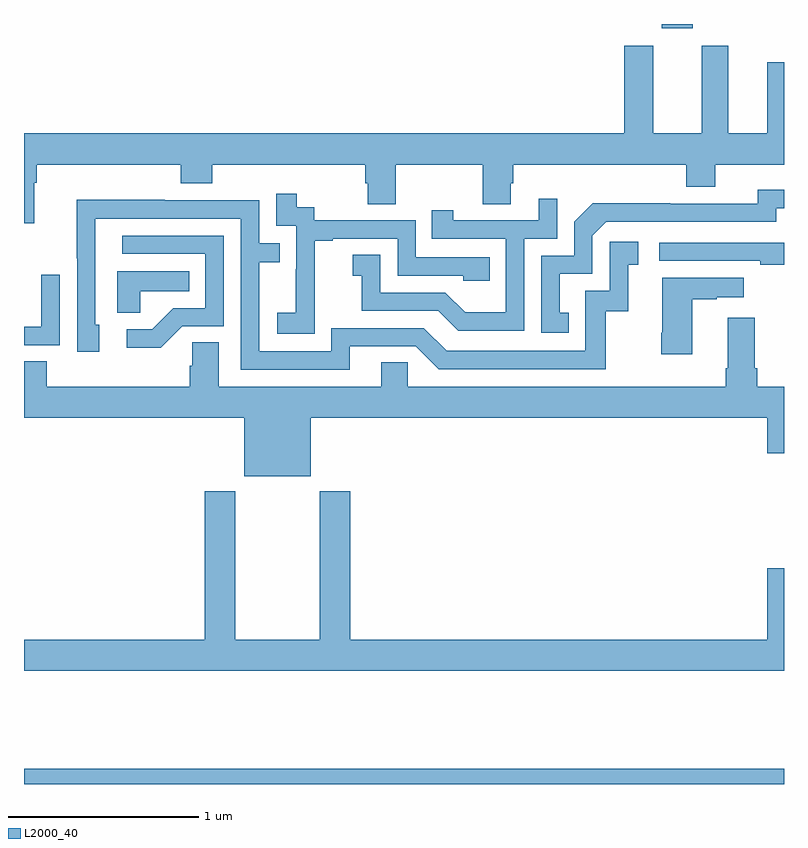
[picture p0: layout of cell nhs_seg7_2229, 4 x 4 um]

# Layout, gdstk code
import gdstk
lib = gdstk.Library(unit=1e-6, precision=1e-09)
def R(c, l, rs):  # rectangles x0, y0, x1, y1
    for r in rs: c.add(gdstk.rectangle(r[:2], r[2:], *l))
def P(c, l, *ps):  # polygons
    for p in ps: c.add(gdstk.Polygon(p, *l))
L2000_40 = (2000, 40)

nhs_seg7_2229 = lib.new_cell('nhs_seg7_2229')
R(nhs_seg7_2229, L2000_40, [(257,1020,261,1020.08), (260.357,1023.978,260.521,1024)])
P(nhs_seg7_2229, L2000_40, [(257.053,1023.164),(257.066,1023.164),(257.066,1023.26),(257.825,1023.26),(257.825,1023.161),(257.99,1023.161),(257.99,1023.26),(258.797,1023.26),(258.797,1023.162),(258.809,1023.162),(258.809,1023.052),(258.957,1023.052),(258.957,1023.26),(259.414,1023.26),(259.414,1023.052),(259.561,1023.052),(259.561,1023.162),(259.574,1023.162),(259.574,1023.26),(260.486,1023.26),(260.486,1023.143),(260.638,1023.143),(260.638,1023.26),(261,1023.26),(261,1023.799),(260.912,1023.799),(260.912,1023.424),(260.707,1023.424),(260.707,1023.886),(260.567,1023.886),(260.567,1023.424),(260.311,1023.424),(260.311,1023.886),(260.159,1023.886),(260.159,1023.424),(257,1023.424),(257,1022.951),(257.053,1022.951)],
  [(259.868,1022.481),(259.819,1022.481),(259.819,1022.685),(259.992,1022.685),(259.992,1022.886),(260.064,1022.958),(260.958,1022.958),(260.958,1023.03),(261,1023.03),(261,1023.127),(260.862,1023.127),(260.862,1023.054),(260.402,1023.054),(260.402,1023.056),(259.994,1023.056),(259.896,1022.958),(259.896,1022.781),(259.722,1022.781),(259.722,1022.376),(259.868,1022.376)],
  [(258.531,1022.575),(258.529,1022.575),(258.529,1022.859),(258.625,1022.859),(258.625,1022.871),(258.966,1022.871),(258.966,1022.676),(259.311,1022.676),(259.311,1022.649),(259.451,1022.649),(259.451,1022.772),(259.062,1022.772),(259.062,1022.967),(258.528,1022.967),(258.528,1023.036),(258.436,1023.036),(258.436,1023.106),(258.327,1023.106),(258.327,1022.937),(258.432,1022.937),(258.432,1022.708),(258.431,1022.708),(258.431,1022.479),(258.333,1022.479),(258.333,1022.369),(258.531,1022.369)],
  [(259.632,1022.871),(259.806,1022.871),(259.806,1023.079),(259.709,1023.079),(259.709,1022.967),(259.258,1022.967),(259.258,1023.019),(259.147,1023.019),(259.147,1022.871),(259.536,1022.871),(259.536,1022.482),(259.322,1022.482),(259.218,1022.586),(258.876,1022.586),(258.876,1022.785),(258.729,1022.785),(258.729,1022.675),(258.778,1022.675),(258.778,1022.49),(259.181,1022.49),(259.286,1022.385),(259.632,1022.385)],
  [(258.715,1022.304),(259.062,1022.304),(259.182,1022.184),(260.062,1022.184),(260.062,1022.487),(260.18,1022.487),(260.18,1022.733),(260.233,1022.733),(260.233,1022.854),(260.082,1022.854),(260.082,1022.595),(259.953,1022.595),(259.953,1022.28),(259.224,1022.28),(259.104,1022.4),(258.618,1022.4),(258.618,1022.277),(258.237,1022.277),(258.237,1022.746),(258.347,1022.746),(258.347,1022.847),(258.237,1022.847),(258.237,1023.072),(257.741,1023.072),(257.741,1023.074),(257.278,1023.074),(257.278,1022.767),(257.28,1022.767),(257.28,1022.274),(257.395,1022.274),(257.395,1022.418),(257.376,1022.418),(257.376,1022.976),(258.141,1022.976),(258.141,1022.181),(258.715,1022.181)],
  [(257.832,1022.409),(258.051,1022.409),(258.051,1022.886),(257.517,1022.886),(257.517,1022.79),(257.955,1022.79),(257.955,1022.505),(257.786,1022.505),(257.675,1022.394),(257.541,1022.394),(257.541,1022.297),(257.719,1022.297)],
  [(261,1022.85),(260.343,1022.85),(260.343,1022.754),(260.875,1022.754),(260.875,1022.734),(261,1022.734)],
  [(257.613,1022.594),(257.87,1022.594),(257.87,1022.698),(257.492,1022.698),(257.492,1022.479),(257.613,1022.479)],
  [(257.187,1022.68),(257.091,1022.68),(257.091,1022.406),(257,1022.406),(257,1022.31),(257.187,1022.31)],
  [(260.518,1022.551),(260.645,1022.551),(260.645,1022.561),(260.788,1022.561),(260.788,1022.665),(260.36,1022.665),(260.36,1022.374),(260.353,1022.374),(260.353,1022.262),(260.518,1022.262)],
  [(260.912,1021.74),(261,1021.74),(261,1022.092),(260.858,1022.092),(260.858,1022.188),(260.845,1022.188),(260.845,1022.455),(260.705,1022.455),(260.705,1022.188),(260.693,1022.188),(260.693,1022.092),(259.02,1022.092),(259.02,1022.219),(258.881,1022.219),(258.881,1022.092),(258.025,1022.092),(258.025,1022.324),(257.886,1022.324),(257.886,1022.201),(257.873,1022.201),(257.873,1022.092),(257.12,1022.092),(257.12,1022.225),(257,1022.225),(257,1021.928),(258.158,1021.928),(258.158,1021.619),(258.508,1021.619),(258.508,1021.928),(260.912,1021.928)],
  [(261,1021.135),(260.912,1021.135),(260.912,1020.76),(258.716,1020.76),(258.716,1021.54),(258.556,1021.54),(258.556,1020.76),(258.111,1020.76),(258.111,1021.54),(257.951,1021.54),(257.951,1020.76),(257,1020.76),(257,1020.596),(261,1020.596)])

lib.write_gds('nhs_seg7_2229.gds')
